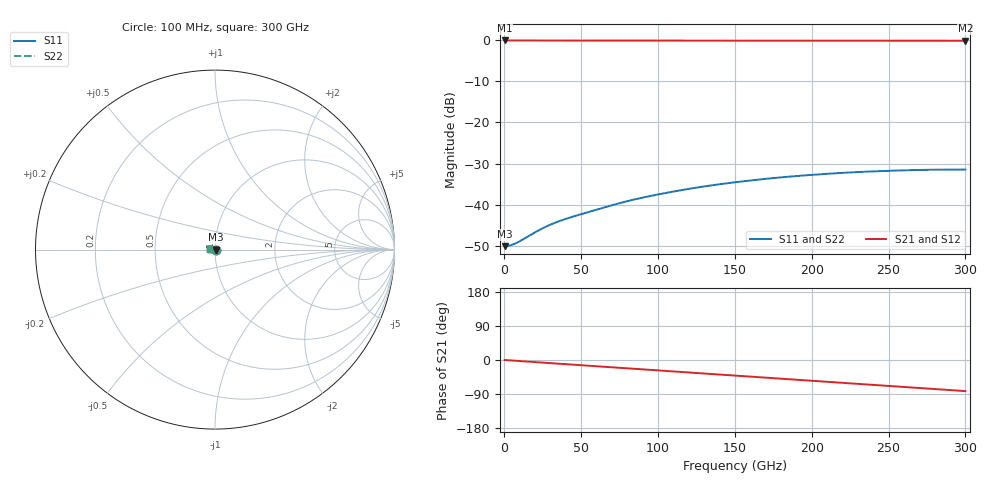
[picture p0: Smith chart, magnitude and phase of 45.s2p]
#  Hz  S  RI  R  50
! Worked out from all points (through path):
!   3000 points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, 100 MHz to 300 GHz, reference 50 ohm
!   highest |S21| = -0.03 dB at 100 MHz (marker M1); lowest = -0.1 dB at 300 GHz (marker M2)
!   group delay of S21, straight-line fit = 759 fs
!   lowest |S11| = -50.1 dB at 100 MHz (marker M3), VSWR 1.01, Z = 50.3 - j0.000126 ohm
!   |S11| at or under -10 dB: start of sweep to end of sweep
!   |S22| runs from -50.3 to -31.5 dB; largest |S21 - S12| = 0.00045
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1e8  0.00312 -1.25e-06  0.9971 -0.000495  0.997 -0.000493  0.00304 7.29e-08
3.6e9  0.00318 -5.45e-05  0.9968 -0.0178  0.9967 -0.0177  0.00312 -8.99e-06
7.6e9  0.00339 -0.00018  0.9959 -0.0374  0.9959 -0.0373  0.00336 -9.91e-05
1.12e10  0.00367 -0.000398  0.9947 -0.0549  0.9947 -0.0548  0.00367 -0.000306
2.01e10  0.00439 -0.00145  0.9904 -0.0973  0.9905 -0.0973  0.00445 -0.0014
2.42e10  0.00461 -0.00213  0.988 -0.1165  0.9881 -0.1166  0.00466 -0.00212
2.83e10  0.00472 -0.00288  0.9854 -0.1357  0.9854 -0.1358  0.00474 -0.00288
3.75e10  0.00457 -0.00457  0.9783 -0.1788  0.9783 -0.1787  0.00453 -0.00452
5.01e10  0.00391 -0.00659  0.9654 -0.2373  0.9654 -0.2373  0.0039 -0.00646
6.58e10  0.00282 -0.0089  0.9444 -0.3087  0.9444 -0.3087  0.00286 -0.00879
7.54e10  0.00194 -0.0103  0.9291 -0.3515  0.929 -0.3515  0.00194 -0.0102
8.7e10  0.000585 -0.0118  0.9079 -0.4023  0.9079 -0.4022  0.000592 -0.0116
1.001e11  -0.00118 -0.0133  0.8807 -0.458  0.8807 -0.458  -0.00113 -0.0131
1.233e11  -0.00475 -0.0152  0.8244 -0.5522  0.8244 -0.5521  -0.00472 -0.015
1.361e11  -0.00695 -0.0158  0.789 -0.6013  0.789 -0.6013  -0.0069 -0.0156
1.501e11  -0.00944 -0.0161  0.747 -0.6523  0.7469 -0.6523  -0.00937 -0.0159
1.751e11  -0.0139 -0.0158  0.6638 -0.7362  0.6639 -0.7362  -0.0139 -0.0155
2.001e11  -0.0182 -0.0141  0.5714 -0.8096  0.5713 -0.8095  -0.0181 -0.0139
2.254e11  -0.0219 -0.0114  0.4696 -0.8721  0.4696 -0.8722  -0.0218 -0.0111
2.501e11  -0.0246 -0.0078  0.3636 -0.9211  0.3637 -0.921  -0.0246 -0.00746
2.766e11  -0.0264 -0.00323  0.2447 -0.9593  0.2444 -0.9592  -0.0263 -0.00293
3e11  -0.0267 0.00103  0.1358 -0.98  0.1362 -0.9802  -0.0267 0.00145
